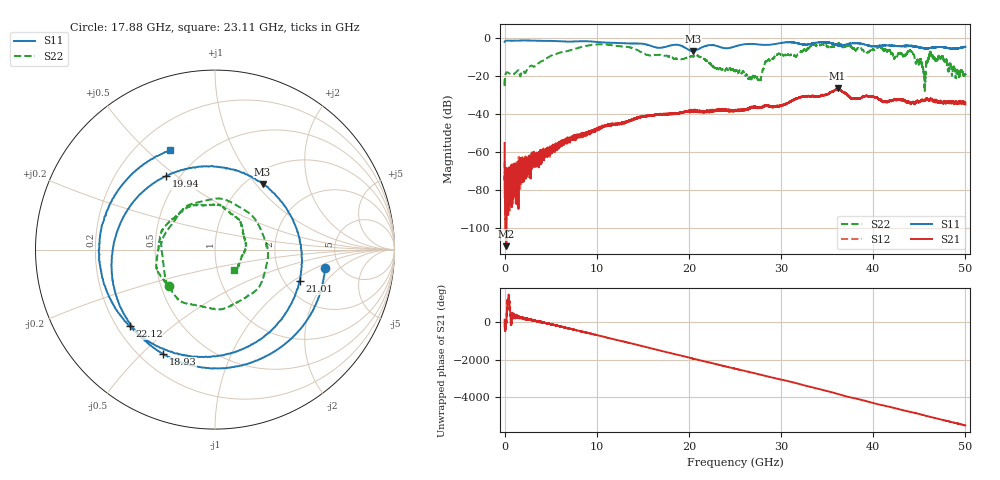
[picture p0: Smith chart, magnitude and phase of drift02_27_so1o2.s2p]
!Created with skrf (http://scikit-rf.org).
# Hz S RI R 50.0
!freq ReS11 ImS11 ReS21 ImS21 ReS12 ImS12 ReS22 ImS22
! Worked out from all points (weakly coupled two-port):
!   10001 points, 300 kHz to 50 GHz, reference 50 ohm
!   highest |S21| = -26.34 dB at 36.13 GHz (marker M1); lowest = -109.6 dB at 185.3 MHz (marker M2)
!   lowest |S11| = -6.9 dB at 20.44 GHz (marker M3), VSWR 2.64, Z = 59.1 + j54.2 ohm
!   |S11| at or under -10 dB: nowhere
!   |S22| runs from -27.9 to -2.6 dB; largest |S21 - S12| = 0.005
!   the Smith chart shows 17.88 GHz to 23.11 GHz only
!   S11 on the Smith chart (normalised r, x): 17.88 GHz: 3.83, -1.28; 18.93 GHz: 0.29, -0.58; 19.94 GHz: 0.42, +0.46; 21.01 GHz: 2.41, -1.13; 22.12 GHz: 0.25, -0.36; 23.11 GHz: 0.34, +0.59
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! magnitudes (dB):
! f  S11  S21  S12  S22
! 300 kHz  -2.1  -55.3  -65.0  -21.5
! 185.3 MHz  -1.4  -109.6  -74.5  -18.4
! 8.335 GHz  -1.7  -50.0  -50.9  -4.7
! 16.67 GHz  -5.2  -40.6  -40.2  -9.0
! 17.88 GHz  -4.1  -40.0  -40.0  -9.7
! 18.93 GHz  -3.7  -39.6  -39.7  -10.9
! 19.94 GHz  -6.2  -38.5  -38.5  -9.9
! 20.44 GHz  -6.9  -38.6  -38.5  -9.8
! 21.01 GHz  -6.0  -38.6  -38.4  -9.4
! 22.12 GHz  -3.9  -38.6  -38.3  -12.7
! 23.11 GHz  -4.3  -38.0  -38.0  -16.1
! 25 GHz  -4.5  -38.2  -38.1  -17.6
! 27.62 GHz  -3.5  -36.8  -36.6  -21.8
! 28.43 GHz  -3.7  -35.7  -35.6  -12.2
! 29.54 GHz  -3.0  -35.9  -36.0  -8.8
! 33.34 GHz  -3.0  -30.6  -30.5  -3.8
! 36.13 GHz  -3.9  -26.3  -27.0  -3.3
! 41.67 GHz  -4.0  -33.4  -33.4  -6.4
! 44.12 GHz  -4.1  -34.5  -34.5  -7.1
! 45.5 GHz  -5.4  -32.9  -32.9  -18.3
! 46.25 GHz  -5.2  -32.3  -32.3  -8.4
! 50 GHz  -4.7  -35.0  -34.4  -19.4
